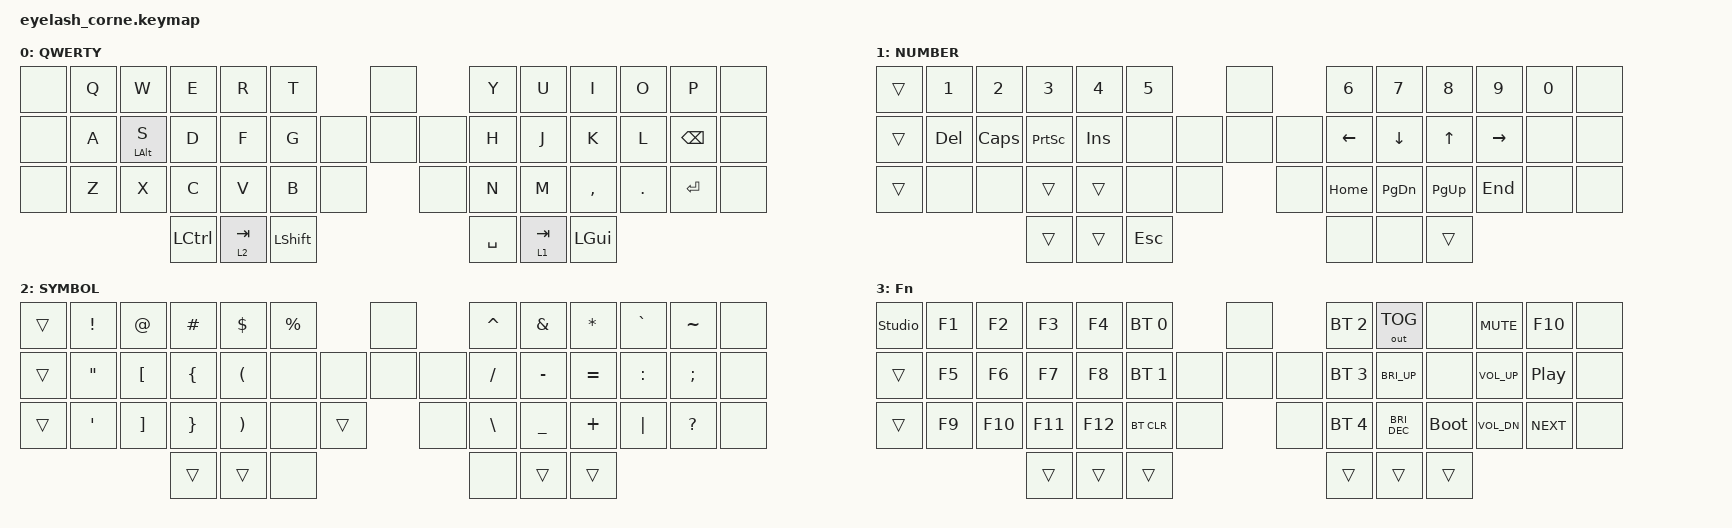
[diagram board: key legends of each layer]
#define ZMK_POINTING_DEFAULT_MOVE_VAL 1200  // 600
#define ZMK_POINTING_DEFAULT_SCRL_VAL 25   // 10

#include <input/processors.dtsi>
#include <zephyr/dt-bindings/input/input-event-codes.h>
#include <behaviors.dtsi>
#include <dt-bindings/zmk/bt.h>
#include <dt-bindings/zmk/keys.h>
#include <dt-bindings/zmk/outputs.h>

&mmv_input_listener { input-processors = <&zip_xy_scaler 2 1>; };

&msc_input_listener { input-processors = <&zip_scroll_scaler 2 1>; };

/ {
    behaviors {
        ht: hold_tap {
            compatible = "zmk,behavior-hold-tap";
            bindings = <&kp>, <&kp>;

            #binding-cells = <2>;
            tapping-term-ms = <200>;
            quick-tap-ms = <150>;
            flavor = "balanced";
        };
    };

    combos {
        compatible = "zmk,combos";

        softoff {
            bindings = <&soft_off>;
            key-positions = <1 15 29>;
        };
    };

    keymap {
        compatible = "zmk,keymap";

        default_layer {
            display-name = "QWERTY";
            bindings = <
&none  &kp Q  &kp W       &kp E      &kp R      &kp T                      &none         &kp Y      &kp U      &kp I      &kp O    &kp P      &none
&none  &kp A  &ht LALT S  &kp D      &kp F      &kp G               &none  &none  &none  &kp H      &kp J      &kp K      &kp L    &kp BSPC   &none
&none  &kp Z  &kp X       &kp C      &kp V      &kp B      &none           &none         &kp N      &kp M      &kp COMMA  &kp DOT  &kp ENTER  &none
                          &kp LCTRL  &lt 2 TAB  &kp LSHFT                                &kp SPACE  &lt 1 TAB  &kp LGUI
            >;
        };

        lower_layer {
            display-name = "NUMBER";
            bindings = <
&trans  &kp N1   &kp N2    &kp N3     &kp N4   &kp N5                   &none         &kp N6    &kp N7     &kp N8     &kp N9     &kp N0  &none
&trans  &kp DEL  &kp CAPS  &kp PSCRN  &kp INS  &none             &none  &none  &none  &kp LEFT  &kp DOWN   &kp UP     &kp RIGHT  &none   &none
&trans  &none    &none     &trans     &trans   &none    &none           &none         &kp HOME  &kp PG_DN  &kp PG_UP  &kp END    &none   &none
                           &trans     &trans   &kp ESC                                &none     &none      &trans
            >;
        };

        raise_layer {
            display-name = "SYMBOL";
            bindings = <
&trans  &kp EXCL  &kp AT    &kp HASH  &kp DLLR  &kp PRCNT                   &none         &kp CARET  &kp AMPS   &kp ASTRK  &kp GRAVE  &kp TILDE  &none
&trans  &kp DQT   &kp LBKT  &kp LBRC  &kp LPAR  &none                &none  &none  &none  &kp FSLH   &kp MINUS  &kp EQUAL  &kp COLON  &kp SEMI   &none
&trans  &kp SQT   &kp RBKT  &kp RBRC  &kp RPAR  &none      &trans           &none         &kp BSLH   &kp UNDER  &kp PLUS   &kp PIPE   &kp QMARK  &none
                            &trans    &trans    &none                                     &none      &trans     &trans
            >;
        };

        layer_3 {
            display-name = "Fn";
            bindings = <
&studio_unlock  &kp F1  &kp F2   &kp F3   &kp F4   &bt BT_SEL 0                  &none         &bt BT_SEL 2  &out OUT_TOG   &none        &kp C_MUTE    &kp F10     &none
&trans          &kp F5  &kp F6   &kp F7   &kp F8   &bt BT_SEL 1           &none  &none  &none  &bt BT_SEL 3  &kp C_BRI_UP   &none        &kp C_VOL_UP  &kp C_PP    &none
&trans          &kp F9  &kp F10  &kp F11  &kp F12  &bt BT_CLR    &none           &none         &bt BT_SEL 4  &kp C_BRI_DEC  &bootloader  &kp C_VOL_DN  &kp C_NEXT  &none
                                 &trans   &trans   &trans                                      &trans        &trans         &trans
            >;
        };
    };

    conditional_layers {
        compatible = "zmk,conditional-layers";

        Fn_layer {
            if-layers = <1 2>;
            then-layer = <3>;
        };
    };
};
